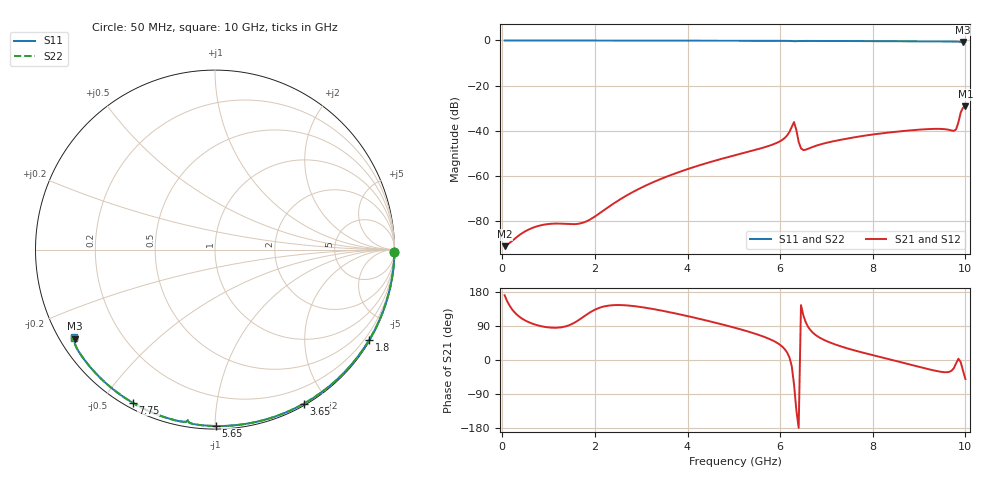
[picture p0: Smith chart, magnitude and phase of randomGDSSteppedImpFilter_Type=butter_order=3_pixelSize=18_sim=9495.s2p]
! freq	dB(S11)	phase(S11)	dB(S12)	phase(S12)
!  dB(S21)	phase(S21)	dB(S22)	phase(S22)
!S-par simulation data
#  GHz  S  DB  R 50
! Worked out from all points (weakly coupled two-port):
!   200 points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, 50 MHz to 10 GHz, reference 50 ohm
!   highest |S21| = -29.22 dB at 10 GHz (marker M1); lowest = -91.3 dB at 50 MHz (marker M2)
!   lowest |S11| = -0.7 dB at 9.95 GHz (marker M3), VSWR 25.90, Z = 2.09 - j14.5 ohm
!   |S11| at or under -10 dB: nowhere
!   |S22| runs from -0.7 to 0.0 dB; largest |S21 - S12| = 0
!   S11 on the Smith chart (normalised r, x): 50 MHz: open; 1.8 GHz: 0.03, -3.68; 3.65 GHz: 0.02, -1.73; 5.65 GHz: 0.02, -1.01; 7.75 GHz: 0.02, -0.60; 10 GHz: 0.04, -0.28
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0.05  -0.00 -0.9  -91.32 170.9  -91.32 170.9  -0.00 -0.9
1.75  -0.04 -29.6  -80.85 113.8  -80.85 113.8  -0.04 -29.6
1.8  -0.04 -30.4  -80.45 118.0  -80.45 118.0  -0.04 -30.4
2.75  -0.06 -45.8  -68.05 143.4  -68.05 143.4  -0.06 -45.8
3.4  -0.07 -56.1  -61.68 131.3  -61.68 131.3  -0.07 -56.1
3.65  -0.08 -60.0  -59.66 125.2  -59.66 125.2  -0.08 -60.0
5.05  -0.12 -81.0  -50.81 84.1  -50.81 84.1  -0.12 -81.0
5.65  -0.15 -89.7  -47.49 61.4  -47.49 61.4  -0.15 -89.7
6.1  -0.17 -96.2  -43.27 28.4  -43.27 28.4  -0.17 -96.2
6.2  -0.19 -97.8  -40.66 7.1  -40.66 7.1  -0.19 -97.8
6.3  -0.34 -99.1  -36.23 -65.1  -36.23 -65.1  -0.34 -99.1
6.4  -0.24 -99.7  -45.04 -179.1  -45.04 -179.1  -0.24 -99.6
6.45  -0.22 -100.4  -47.90 144.8  -47.90 144.8  -0.22 -100.4
6.7  -0.21 -104.1  -47.29 72.8  -47.29 72.8  -0.21 -104.1
7.75  -0.28 -118.3  -42.49 20.5  -42.49 20.5  -0.28 -118.3
8.35  -0.33 -126.2  -40.86 2.2  -40.86 2.2  -0.33 -126.2
9.3  -0.42 -138.8  -39.26 -27.0  -39.26 -27.0  -0.42 -138.8
9.75  -0.50 -145.3  -40.14 -21.7  -40.14 -21.7  -0.51 -145.3
9.8  -0.53 -146.1  -39.46 -8.5  -39.46 -8.5  -0.54 -146.2
9.9  -0.67 -147.3  -31.92 -5.9  -31.92 -5.9  -0.71 -147.2
9.95  -0.67 -147.6  -29.84 -28.9  -29.84 -28.9  -0.71 -147.3
10  -0.67 -148.3  -29.22 -50.1  -29.22 -50.1  -0.69 -147.9
